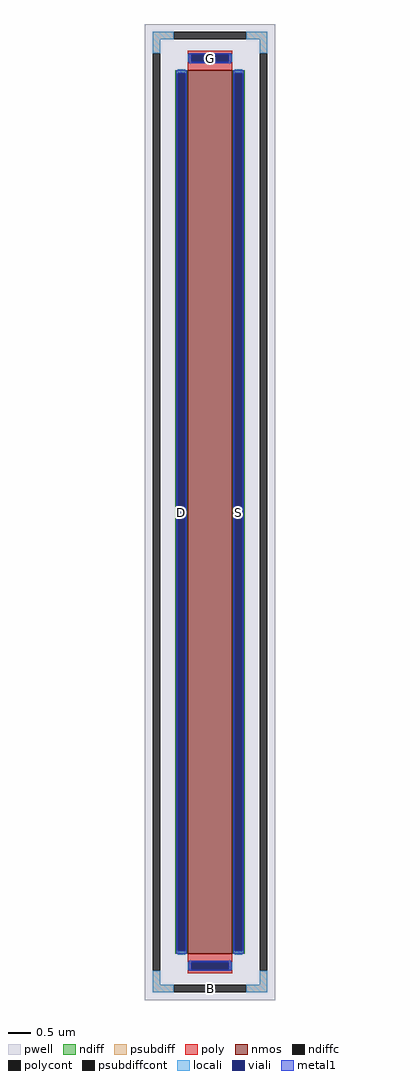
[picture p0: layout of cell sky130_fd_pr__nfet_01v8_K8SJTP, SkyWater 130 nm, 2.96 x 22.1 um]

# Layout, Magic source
magic
tech sky130A
magscale 1 2
<< pwell >>
rect -296 -2210 296 2210
<< nmos >>
rect -100 -2000 100 2000
<< ndiff >>
rect -158 1988 -100 2000
rect -158 -1988 -146 1988
rect -112 -1988 -100 1988
rect -158 -2000 -100 -1988
rect 100 1988 158 2000
rect 100 -1988 112 1988
rect 146 -1988 158 1988
rect 100 -2000 158 -1988
<< ndiffc >>
rect -146 -1988 -112 1988
rect 112 -1988 146 1988
<< psubdiff >>
rect -260 2140 -164 2174
rect 164 2140 260 2174
rect -260 2078 -226 2140
rect 226 2078 260 2140
rect -260 -2140 -226 -2078
rect 226 -2140 260 -2078
rect -260 -2174 -164 -2140
rect 164 -2174 260 -2140
<< psubdiffcont >>
rect -164 2140 164 2174
rect -260 -2078 -226 2078
rect 226 -2078 260 2078
rect -164 -2174 164 -2140
<< poly >>
rect -100 2072 100 2088
rect -100 2038 -84 2072
rect 84 2038 100 2072
rect -100 2000 100 2038
rect -100 -2038 100 -2000
rect -100 -2072 -84 -2038
rect 84 -2072 100 -2038
rect -100 -2088 100 -2072
<< polycont >>
rect -84 2038 84 2072
rect -84 -2072 84 -2038
<< locali >>
rect -260 2140 -164 2174
rect 164 2140 260 2174
rect -260 2078 -226 2140
rect 226 2078 260 2140
rect -100 2038 -84 2072
rect 84 2038 100 2072
rect -146 1988 -112 2004
rect -146 -2004 -112 -1988
rect 112 1988 146 2004
rect 112 -2004 146 -1988
rect -100 -2072 -84 -2038
rect 84 -2072 100 -2038
rect -260 -2140 -226 -2078
rect 226 -2140 260 -2078
rect -260 -2174 -164 -2140
rect 164 -2174 260 -2140
<< viali >>
rect -84 2038 84 2072
rect -146 -1988 -112 1988
rect 112 -1988 146 1988
rect -84 -2072 84 -2038
<< metal1 >>
rect -96 2072 96 2078
rect -96 2038 -84 2072
rect 84 2038 96 2072
rect -96 2032 96 2038
rect -152 1988 -106 2000
rect -152 -1988 -146 1988
rect -112 -1988 -106 1988
rect -152 -2000 -106 -1988
rect 106 1988 152 2000
rect 106 -1988 112 1988
rect 146 -1988 152 1988
rect 106 -2000 152 -1988
rect -96 -2038 96 -2032
rect -96 -2072 -84 -2038
rect 84 -2072 96 -2038
rect -96 -2078 96 -2072
<< labels >>
rlabel psubdiffcont 0 -2157 0 -2157 0 B
port 1 nsew
rlabel ndiffc -129 0 -129 0 0 D
port 2 nsew
rlabel ndiffc 129 0 129 0 0 S
port 3 nsew
rlabel polycont 0 2055 0 2055 0 G
port 4 nsew
<< properties >>
string FIXED_BBOX -243 -2157 243 2157
string gencell sky130_fd_pr__nfet_01v8
string library sky130
string parameters w 20.0 l 1.0 m 1 nf 1 diffcov 100 polycov 100 guard 1 glc 1 grc 1 gtc 1 gbc 1 tbcov 100 rlcov 100 topc 1 botc 1 poverlap 0 doverlap 1 lmin 0.15 wmin 0.42 class mosfet compatible {sky130_fd_pr__nfet_01v8 sky130_fd_pr__nfet_01v8_lvt  sky130_fd_bs_flash__special_sonosfet_star  sky130_fd_pr__nfet_g5v0d10v5 sky130_fd_pr__nfet_05v0_nvt  sky130_fd_pr__nfet_03v3_nvt} full_metal 1 conn_gates 0 viasrc 100 viadrn 100 viagate 100 viagb 0 viagr 0 viagl 0 viagt 0 doports 1
<< end >>
